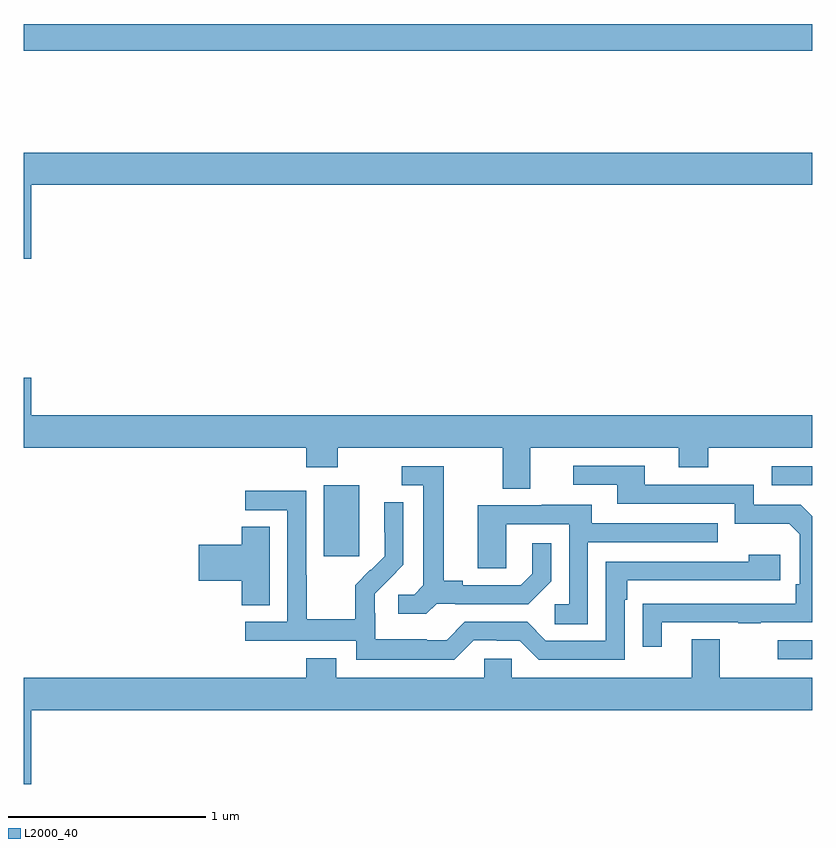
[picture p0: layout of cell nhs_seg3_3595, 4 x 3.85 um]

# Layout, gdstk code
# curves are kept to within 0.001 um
import gdstk
lib = gdstk.Library(unit=1e-6, precision=1e-09)
def R(c, l, rs):  # rectangles x0, y0, x1, y1
    for r in rs: c.add(gdstk.rectangle(r[:2], r[2:], *l))
def P(c, l, *ps):  # polygons
    for p in ps: c.add(gdstk.Polygon(p, *l))
L2000_40 = (2000, 40)

nhs_seg3_3595 = lib.new_cell('nhs_seg3_3595')
R(nhs_seg3_3595, L2000_40, [(300.825,717.159,301,717.255), (298.523,717.681,298.702,718.042), (300.795,718.041,301,718.137), (297,720.244,301,720.38)])
P(nhs_seg3_3595, L2000_40, [(297.04,719.564),(301,719.564),(301,719.728),(297,719.728),(297,719.19),(297.04,719.19)],
  [(299.569,718.232),(300.323,718.232),(300.323,718.133),(300.471,718.133),(300.471,718.232),(301,718.232),(301,718.396),(297.04,718.396),(297.04,718.585),(297,718.585),(297,718.232),(298.433,718.232),(298.433,718.133),(298.593,718.133),(298.593,718.232),(299.429,718.232),(299.429,718.024),(299.569,718.024)],
  [(300.235,717.345),(300.625,717.345),(300.625,717.34),(300.737,717.34),(300.737,717.345),(301,717.345),(301,717.884),(300.942,717.942),(300.702,717.942),(300.702,718.044),(300.151,718.044),(300.151,718.14),(299.787,718.14),(299.787,718.044),(300.011,718.044),(300.011,717.948),(300.606,717.948),(300.606,717.845),(300.883,717.845),(300.936,717.792),(300.936,717.538),(300.916,717.538),(300.916,717.441),(300.139,717.44),(300.139,717.222),(300.235,717.222)],
  [(299.094,717.441),(299.188,717.441),(299.188,717.438),(299.56,717.438),(299.676,717.554),(299.676,717.748),(299.579,717.748),(299.579,717.591),(299.522,717.534),(299.227,717.534),(299.227,717.557),(299.131,717.557),(299.131,718.137),(298.917,718.137),(298.917,718.041),(299.027,718.041),(299.027,717.533),(298.98,717.486),(298.899,717.486),(298.899,717.389),(299.042,717.389)],
  [(299.283,717.255),(299.399,717.255),(299.399,717.252),(299.517,717.252),(299.613,717.156),(300.048,717.156),(300.048,717.461),(300.061,717.461),(300.061,717.558),(300.838,717.558),(300.838,717.688),(300.677,717.688),(300.677,717.654),(299.952,717.654),(299.952,717.252),(299.649,717.252),(299.553,717.348),(299.238,717.348),(299.145,717.255),(299.045,717.255),(299.045,717.259),(298.782,717.259),(298.782,717.393),(298.78,717.393),(298.78,717.49),(298.926,717.638),(298.926,717.956),(298.83,717.956),(298.83,717.802),(298.832,717.802),(298.832,717.68),(298.761,717.609),(298.758,717.612),(298.681,717.535),(298.681,717.361),(298.437,717.361),(298.437,717.584),(298.434,717.584),(298.434,718.014),(298.125,718.014),(298.125,717.915),(298.338,717.915),(298.338,717.348),(298.125,717.348),(298.125,717.252),(298.686,717.252),(298.686,717.155),(299.183,717.155)],
  [(299.862,717.753),(300.521,717.753),(300.521,717.849),(299.881,717.849),(299.881,717.943),(299.627,717.943),(299.627,717.939),(299.303,717.939),(299.303,717.619),(299.448,717.619),(299.448,717.843),(299.766,717.843),(299.766,717.438),(299.694,717.438),(299.694,717.337),(299.862,717.337)],
  [(298.249,717.83),(298.106,717.83),(298.106,717.74),(297.888,717.74),(297.888,717.557),(298.106,717.557),(298.106,717.433),(298.249,717.433)],
  [(297.04,716.9),(301,716.9),(301,717.064),(300.529,717.064),(300.529,717.259),(300.389,717.259),(300.389,717.064),(299.475,717.064),(299.475,717.162),(299.337,717.162),(299.337,717.064),(298.585,717.064),(298.585,717.163),(298.433,717.163),(298.433,717.064),(297,717.064),(297,716.526),(297.04,716.526)])

lib.write_gds('nhs_seg3_3595.gds')
